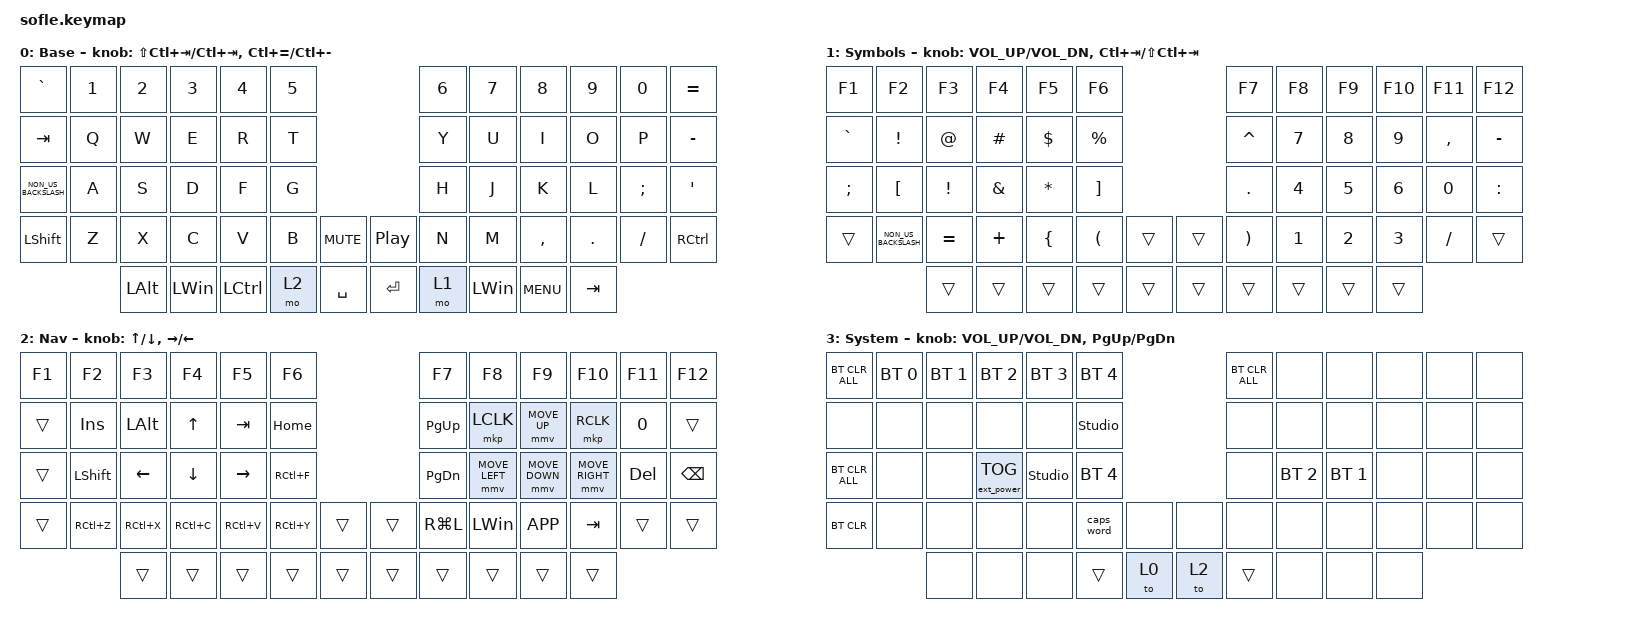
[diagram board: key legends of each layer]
/*
 * Copyright (c) 2020 The ZMK Contributors
 *
 * SPDX-License-Identifier: MIT
 */

#include <behaviors.dtsi>
#include <dt-bindings/zmk/bt.h>
#include <dt-bindings/zmk/ext_power.h>
#include <dt-bindings/zmk/keys.h>
#include <dt-bindings/zmk/pointing.h>

#define BASE 0
#define LOWER 1
#define RAISE 2
#define ADJUST 3

/ {
    // Activate ADJUST layer by pressing raise and lower

    conditional_layers { compatible = "zmk,conditional-layers"; };

    combos {
        compatible = "zmk,combos";

        backspace {
            bindings = <&kp BACKSPACE>;
            key-positions = <32 31>;
        };

        escape {
            bindings = <&kp ESCAPE>;
            key-positions = <27 28 26>;
        };

        bt0 {
            bindings = <&bt BT_SEL 0>;
            key-positions = <54 55>;
        };

        bt1 {
            bindings = <&bt BT_SEL 1>;
            key-positions = <56 53>;
        };

        bt2 {
            bindings = <&bt BT_SEL 2>;
            key-positions = <52 57>;
        };

        bt3 {
            bindings = <&bt BT_SEL 3>;
            key-positions = <51 58>;
        };

        bt4 {
            bindings = <&bt BT_SEL 4>;
            key-positions = <59 50>;
        };

        delete {
            bindings = <&kp DELETE>;
            key-positions = <31 32 33>;
        };

        L1 {
            bindings = <&to 0>;
            key-positions = <54 57>;
        };

        L2 {
            bindings = <&tog 1>;
            key-positions = <55 53>;
        };

        L3 {
            bindings = <&tog 2>;
            key-positions = <54 56>;
        };

        L4 {
            bindings = <&tog 3>;
            key-positions = <11 0>;
        };

        bkspc+ctrl {
            bindings = <&kp LC(BACKSPACE)>;
            key-positions = <45 46>;
        };
    };

    behaviors {
        caps: caps {
            compatible = "zmk,behavior-caps-word";
            label = "CAPS";
            #binding-cells = <0>;
            continue-list = <POUND MINUS BACKSPACE UNDERSCORE>;
        };
    };

    keymap {
        compatible = "zmk,keymap";

        default_layer {
            display-name = "Base";

            // ------------------------------------------------------------------------------------------------------------
            // |   `   |  1  |  2  |  3   |  4   |  5   |                   |  6   |  7    |  8    |  9   |   0   |       |
            // |  ESC  |  Q  |  W  |  E   |  R   |  T   |                   |  Y   |  U    |  I    |  O   |   P   | BKSPC |
            // |  TAB  |  A  |  S  |  D   |  F   |  G   |                   |  H   |  J    |  K    |  L   |   ;   |   '   |
            // | SHIFT |  Z  |  X  |  C   |  V   |  B   |  MUTE  |  |       |  N   |  M    |  ,    |  .   |   /   | SHIFT |
            //               | GUI | ALT  | CTRL | LOWER|  ENTER |  | SPACE | RAISE| CTRL  | ALT   | GUI  |

            bindings = <
&kp GRAVE             &kp N1  &kp N2        &kp N3        &kp N4            &kp N5                                  &kp N6  &kp N7        &kp N8      &kp N9   &kp N0    &kp EQUAL
&kp TAB               &kp Q   &kp W         &kp E         &kp R             &kp T                                   &kp Y   &kp U         &kp I       &kp O    &kp P     &kp MINUS
&kp NON_US_BACKSLASH  &kp A   &kp S         &kp D         &kp F             &kp G                                   &kp H   &kp J         &kp K       &kp L    &kp SEMI  &kp SQT
&kp LEFT_SHIFT        &kp Z   &kp X         &kp C         &kp V             &kp B   &kp C_MUTE    &kp C_PLAY_PAUSE  &kp N   &kp M         &kp COMMA   &kp DOT  &kp FSLH  &kp RIGHT_CONTROL
                              &kp LEFT_ALT  &kp LEFT_WIN  &kp LEFT_CONTROL  &mo 2   &kp SPACE     &kp ENTER         &mo 1   &kp LEFT_WIN  &kp C_MENU  &kp TAB
            >;

            sensor-bindings =
                <&inc_dec_kp LS(LC(TAB)) LC(TAB)>,
                <&inc_dec_kp LC(EQUAL) LC(MINUS)>;
        };

        lower_layer {
            display-name = "Symbols";

            // TODO: Some binds are waiting for shifted keycode support.
            // ------------------------------------------------------------------------------------------------------------
            // |       |  F1 |  F2 |  F3  |  F4  |  F5  |                   |  F6  |  F7   |  F8   |  F9  |  F10  |  F11  |
            // |   `   |  1  |  2  |  3   |  4   |  5   |                   |  6   |  7    |  8    |  9   |   0   |  F12  |
            // |       |  !  |  @  |  #   |  $   |  %   |                   |  ^   |  &    |  *    |  (   |   )   |   |   |
            // |       |  =  |  -  |  +   |  {   |  }   |        |  |       |  [   |  ]    |  ;    |  :   |   \   |       |
            //               |     |      |      |      |        |  |       |      |       |       |      |

            bindings = <
&kp F1         &kp F2                &kp F3           &kp F4         &kp F5        &kp F6                                  &kp F7                 &kp F8        &kp F9        &kp F10       &kp F11       &kp F12
&kp GRAVE      &kp EXCLAMATION       &kp AT_SIGN      &kp HASH       &kp DOLLAR    &kp PERCENT                             &kp CARET              &kp NUMBER_7  &kp NUMBER_8  &kp NUMBER_9  &kp COMMA     &kp MINUS
&kp SEMICOLON  &kp LEFT_BRACKET      &kp EXCLAMATION  &kp AMPERSAND  &kp ASTERISK  &kp RIGHT_BRACKET                       &kp PERIOD             &kp NUMBER_4  &kp NUMBER_5  &kp NUMBER_6  &kp NUMBER_0  &kp COLON
&trans         &kp NON_US_BACKSLASH  &kp EQUAL        &kp PLUS       &kp LBRC      &kp LEFT_PARENTHESIS  &trans    &trans  &kp RIGHT_PARENTHESIS  &kp NUMBER_1  &kp NUMBER_2  &kp NUMBER_3  &kp SLASH     &trans
                                     &trans           &trans         &trans        &trans                &trans    &trans  &trans                 &trans        &trans        &trans
            >;

            sensor-bindings =
                <&inc_dec_kp C_VOLUME_UP C_VOL_DN>,
                <&inc_dec_kp LC(TAB) LS(LC(TAB))>;
        };

        raise_layer {
            display-name = "Nav";

            // ------------------------------------------------------------------------------------------------------------
            // | BTCLR | BT1  | BT2  |  BT3  |  BT4  |  BT5 |                |      |      |       |      |       |       |
            // |       | INS  | PSCR | GUI   |       |      |                | PGUP |      |   ^   |      |       |       |
            // |       | ALT  | CTRL | SHIFT |       | CAPS |                | PGDN |   <- |   v   |  ->  |  DEL  | BKSPC |
            // |       | UNDO | CUT  | COPY  | PASTE |      |      |  |      |      |      |       |      |       |       |
            //                |      |       |       |      |      |  |      |      |      |       |      |

            bindings = <
&kp F1  &kp F2          &kp F3        &kp F4        &kp F5     &kp F6                       &kp F7     &kp F8          &kp F9          &kp F10          &kp F11  &kp F12
&trans  &kp INS         &kp LEFT_ALT  &kp UP_ARROW  &kp TAB    &kp HOME                     &kp PG_UP  &mkp LCLK       &mmv MOVE_UP    &mkp RCLK        &kp N0   &trans
&trans  &kp LEFT_SHIFT  &kp LEFT      &kp DOWN      &kp RIGHT  &kp RC(F)                    &kp PG_DN  &mmv MOVE_LEFT  &mmv MOVE_DOWN  &mmv MOVE_RIGHT  &kp DEL  &kp BSPC
&trans  &kp RC(Z)       &kp RC(X)     &kp RC(C)     &kp RC(V)  &kp RC(Y)  &trans    &trans  &kp RG(L)  &kp LEFT_WIN    &kp K_APP       &kp TAB          &trans   &trans
                        &trans        &trans        &trans     &trans     &trans    &trans  &trans     &trans          &trans          &trans
            >;

            sensor-bindings =
                <&inc_dec_kp UP_ARROW DOWN_ARROW>,
                <&inc_dec_kp RIGHT LEFT>;
        };

        adjust_layer {
            // ----------------------------------------------------------------------------------------------------------------------------
            // | BTCLR  |  BT1    |  BT2    |   BT3   |   BT4   |   BT5   |                  |      |      |       |      |       |       |
            // | EXTPWR | RGB_HUD | RGB_HUI | RGB_SAD | RGB_SAI | RGB_EFF |                  |      |      |       |      |       |       |
            // |        | RGB_BRD | RGB_BRI |         |         |         |                  |      |      |       |      |       |       |
            // |        |         |         |         |         |         | RGB_TOG | |      |      |      |       |      |       |       |
            //                    |         |         |         |         |         | |      |      |      |       |      |

            display-name = "System";
            bindings = <
&bt BT_CLR_ALL  &bt BT_SEL 0  &bt BT_SEL 1  &bt BT_SEL 2       &bt BT_SEL 3    &bt BT_SEL 4                    &bt BT_CLR_ALL  &none         &none         &none  &none  &none
&none           &none         &none         &none              &none           &studio_unlock                  &none           &none         &none         &none  &none  &none
&bt BT_CLR_ALL  &none         &none         &ext_power EP_TOG  &studio_unlock  &bt BT_SEL 4                    &none           &bt BT_SEL 2  &bt BT_SEL 1  &none  &none  &none
&bt BT_CLR      &none         &none         &none              &none           &caps_word      &none    &none  &none           &none         &none         &none  &none  &none
                              &none         &none              &none           &trans          &to 0    &to 2  &trans          &none         &none         &none
            >;

            sensor-bindings = <&inc_dec_kp C_VOL_UP C_VOL_DN &inc_dec_kp PG_UP PG_DN>;
        };
    };
};
